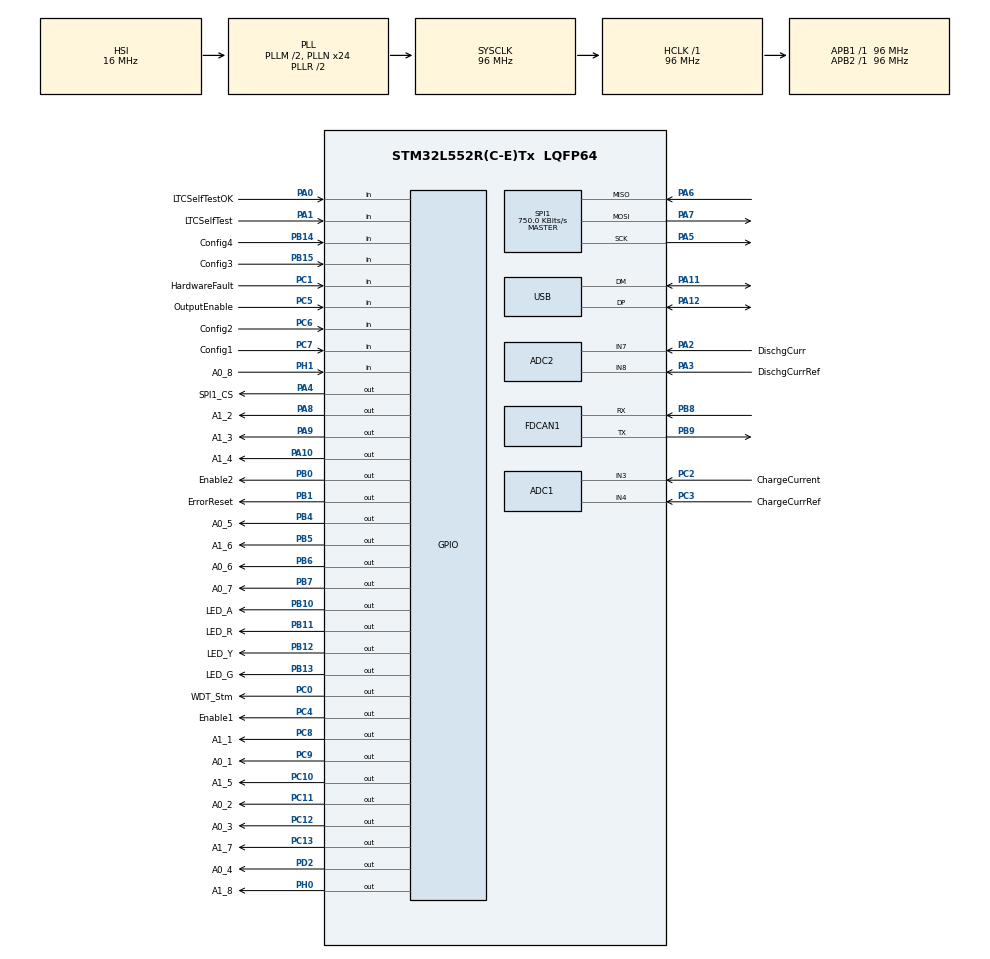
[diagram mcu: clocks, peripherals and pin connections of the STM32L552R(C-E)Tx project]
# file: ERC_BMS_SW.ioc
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ADC1.Channel-8\#ChannelRegularConversion=ADC_CHANNEL_3
ADC1.DMAAccessModeView=ENABLE
ADC1.DMAContinuousRequests=ENABLE
ADC1.ExternalTrigConv=ADC_EXTERNALTRIG_T4_TRGO
ADC1.Mode=ADC_DUALMODE_REGSIMULT
ADC1.NbrOfConversionFlag=1
ADC1.OffsetNumber-8\#ChannelRegularConversion=ADC_OFFSET_NONE
ADC1.Rank-8\#ChannelRegularConversion=1
ADC1.SamplingTime-8\#ChannelRegularConversion=ADC_SAMPLETIME_2CYCLES_5
ADC1.SingleDiff-8\#ChannelRegularConversion=ADC_DIFFERENTIAL_ENDED
ADC1.master=1
ADC2.Channel-0\#ChannelRegularConversion=ADC_CHANNEL_7
ADC2.DMAAccessModeView=ENABLE
ADC2.DMAContinuousRequests=ENABLE
ADC2.Mode=ADC_DUALMODE_REGSIMULT
ADC2.NbrOfConversionFlag=1
ADC2.OffsetNumber-0\#ChannelRegularConversion=ADC_OFFSET_NONE
ADC2.Rank-0\#ChannelRegularConversion=1
ADC2.SamplingTime-0\#ChannelRegularConversion=ADC_SAMPLETIME_2CYCLES_5
ADC2.SingleDiff-0\#ChannelRegularConversion=ADC_DIFFERENTIAL_ENDED
Dma.ADC1.0.Channel_PRIV_NPRIV=DMA_CHANNEL_NPRIV_DISABLE
Dma.ADC1.0.Direction=DMA_PERIPH_TO_MEMORY
Dma.ADC1.0.EventEnable=DISABLE
Dma.ADC1.0.Instance=DMA1_Channel2
Dma.ADC1.0.MemDataAlignment=DMA_MDATAALIGN_HALFWORD
Dma.ADC1.0.MemInc=DMA_MINC_ENABLE
Dma.ADC1.0.Mode=DMA_CIRCULAR
Dma.ADC1.0.PeriphDataAlignment=DMA_PDATAALIGN_HALFWORD
Dma.ADC1.0.PeriphInc=DMA_PINC_DISABLE
Dma.ADC1.0.Polarity=HAL_DMAMUX_REQ_GEN_RISING
Dma.ADC1.0.Priority=DMA_PRIORITY_HIGH
Dma.ADC1.0.RequestNumber=1
Dma.ADC1.0.SignalID=NONE
Dma.ADC1.0.SyncEnable=DISABLE
Dma.ADC1.0.SyncPolarity=HAL_DMAMUX_SYNC_NO_EVENT
Dma.ADC1.0.SyncRequestNumber=1
Dma.ADC1.0.SyncSignalID=NONE
Dma.ADC2.1.Channel_PRIV_NPRIV=DMA_CHANNEL_NPRIV_DISABLE
Dma.ADC2.1.Direction=DMA_PERIPH_TO_MEMORY
Dma.ADC2.1.EventEnable=DISABLE
Dma.ADC2.1.Instance=DMA1_Channel1
Dma.ADC2.1.MemDataAlignment=DMA_MDATAALIGN_HALFWORD
Dma.ADC2.1.MemInc=DMA_MINC_ENABLE
Dma.ADC2.1.Mode=DMA_CIRCULAR
Dma.ADC2.1.PeriphDataAlignment=DMA_PDATAALIGN_HALFWORD
Dma.ADC2.1.PeriphInc=DMA_PINC_DISABLE
Dma.ADC2.1.Polarity=HAL_DMAMUX_REQ_GEN_RISING
Dma.ADC2.1.Priority=DMA_PRIORITY_HIGH
Dma.ADC2.1.RequestNumber=1
Dma.ADC2.1.SignalID=NONE
Dma.ADC2.1.SyncEnable=DISABLE
Dma.ADC2.1.SyncPolarity=HAL_DMAMUX_SYNC_NO_EVENT
Dma.ADC2.1.SyncRequestNumber=1
Dma.ADC2.1.SyncSignalID=NONE
Dma.Request0=ADC1
Dma.Request1=ADC2
FDCAN1.CalculateBaudRateNominal=1000000
FDCAN1.CalculateTimeBitNominal=1000
FDCAN1.CalculateTimeQuantumNominal=333.3333333333333
Mcu.Family=STM32L5
Mcu.Name=STM32L552R(C-E)Tx
Mcu.Package=LQFP64
NVIC.DMA1_Channel1_IRQn=true\:0\:0\:false\:false\:true\:false\:true\:true
NVIC.DMA1_Channel2_IRQn=true\:0\:0\:false\:false\:true\:false\:true\:true
NVIC.PriorityGroup=NVIC_PRIORITYGROUP_3
NVIC.TIM1_UP_IRQn=true\:0\:0\:false\:false\:true\:true\:true\:true
NVIC.TIM2_IRQn=true\:0\:0\:false\:false\:true\:true\:true\:true
NVIC.TIM3_IRQn=true\:0\:0\:false\:false\:true\:true\:true\:true
NVIC.TIM4_IRQn=true\:0\:0\:false\:false\:true\:true\:true\:true
NVIC.TIM5_IRQn=true\:0\:0\:false\:false\:true\:true\:true\:true
NVIC.TIM6_IRQn=true\:7\:0\:false\:false\:true\:false\:true\:true
NVIC.TIM7_IRQn=true\:0\:0\:false\:false\:true\:true\:true\:true
NVIC.TimeBase=TIM6_IRQn
NVIC.TimeBaseIP=TIM6
NVIC.USB_FS_IRQn=true\:0\:0\:false\:false\:true\:false\:true\:true
PA0.GPIO_Label=LTCSelfTestOK
PA0.Signal=GPIO_Input
PA1.GPIO_Label=LTCSelfTest
PA1.Signal=GPIO_Input
PA10.GPIO_Label=A1_4
PA10.Signal=GPIO_Output
PA11.Mode=Device
PA11.Signal=USB_DM
PA12.Mode=Device
PA12.Signal=USB_DP
PA13\ (JTMS/SWDIO).Mode=JTAG_4_pins
PA13\ (JTMS/SWDIO).Signal=DEBUG_JTMS-SWDIO
PA14\ (JTCK/SWCLK).Mode=JTAG_4_pins
PA14\ (JTCK/SWCLK).Signal=DEBUG_JTCK-SWCLK
PA15\ (JTDI).Mode=JTAG_4_pins
PA15\ (JTDI).Signal=DEBUG_JTDI
PA2.GPIO_Label=DischgCurr
PA2.Signal=ADCx_IN7
PA3.GPIO_Label=DischgCurrRef
PA3.Signal=ADCx_IN8
PA4.GPIO_Label=SPI1_CS
PA4.Signal=GPIO_Output
PA5.Mode=Full_Duplex_Master
PA5.Signal=SPI1_SCK
PA6.Mode=Full_Duplex_Master
PA6.Signal=SPI1_MISO
PA7.Mode=Full_Duplex_Master
PA7.Signal=SPI1_MOSI
PA8.GPIO_Label=A1_2
PA8.Signal=GPIO_Output
PA9.GPIO_Label=A1_3
PA9.Signal=GPIO_Output
PB0.GPIO_Label=Enable2
PB0.Signal=GPIO_Output
PB1.GPIO_Label=ErrorReset
PB1.Signal=GPIO_Output
PB10.GPIO_Label=LED_A
PB10.Signal=GPIO_Output
PB11.GPIO_Label=LED_R
PB11.Signal=GPIO_Output
PB12.GPIO_Label=LED_Y
PB12.Signal=GPIO_Output
PB13.GPIO_Label=LED_G
PB13.Signal=GPIO_Output
PB14.GPIO_Label=Config4
PB14.GPIO_PuPd=GPIO_PULLUP
PB14.Signal=GPIO_Input
PB15.GPIO_Label=Config3
PB15.GPIO_PuPd=GPIO_PULLUP
PB15.Signal=GPIO_Input
PB3\ (JTDO/TRACESWO).Mode=JTAG_4_pins
PB3\ (JTDO/TRACESWO).Signal=DEBUG_JTDO-SWO
PB4\ (NJTRST).GPIO_Label=A0_5
PB4\ (NJTRST).Signal=GPIO_Output
PB5.GPIO_Label=A1_6
PB5.Signal=GPIO_Output
PB6.GPIO_Label=A0_6
PB6.Signal=GPIO_Output
PB7.GPIO_FM7=__NULL
PB7.GPIO_Label=A0_7
PB7.GPIO_Speed=GPIO_SPEED_FREQ_LOW
PB7.Signal=GPIO_Output
PB8.Mode=FDCAN_Activate
PB8.Signal=FDCAN1_RX
PB9.Mode=FDCAN_Activate
PB9.Signal=FDCAN1_TX
PC0.GPIO_Label=WDT_Stm
PC0.Signal=GPIO_Output
PC1.GPIO_Label=HardwareFault
PC1.Signal=GPIO_Input
PC10.GPIO_Label=A1_5
PC10.Signal=GPIO_Output
PC11.GPIO_Label=A0_2
PC11.Signal=GPIO_Output
PC12.GPIO_Label=A0_3
PC12.Signal=GPIO_Output
PC13.GPIO_Label=A1_7
PC13.Signal=GPIO_Output
PC14-OSC32_IN\ (PC14).Mode=LSE-External-Oscillator
PC14-OSC32_IN\ (PC14).Signal=RCC_OSC32_IN
PC15-OSC32_OUT\ (PC15).Mode=LSE-External-Oscillator
PC15-OSC32_OUT\ (PC15).Signal=RCC_OSC32_OUT
PC2.GPIO_Label=ChargeCurrent
PC2.Signal=ADCx_IN3
PC3.GPIO_Label=ChargeCurrRef
PC3.Signal=ADCx_IN4
PC4.GPIO_Label=Enable1
PC4.Signal=GPIO_Output
PC5.GPIO_Label=OutputEnable
PC5.Signal=GPIO_Input
PC6.GPIO_Label=Config2
PC6.GPIO_PuPd=GPIO_PULLUP
PC6.Signal=GPIO_Input
PC7.GPIO_Label=Config1
PC7.GPIO_PuPd=GPIO_PULLUP
PC7.Signal=GPIO_Input
PC8.GPIO_Label=A1_1
PC8.Signal=GPIO_Output
PC9.GPIO_Label=A0_1
PC9.Signal=GPIO_Output
PD2.GPIO_Label=A0_4
PD2.Signal=GPIO_Output
PH0-OSC_IN\ (PH0).GPIO_Label=A1_8
PH0-OSC_IN\ (PH0).Signal=GPIO_Output
PH1-OSC_OUT\ (PH1).GPIO_Label=A0_8
PH1-OSC_OUT\ (PH1).Signal=GPIO_Input
ProjectManager.HeapSize=0x200
ProjectManager.StackSize=0x400
ProjectManager.TargetToolchain=STM32CubeIDE
RCC.ADCFreq_Value=48000000
RCC.AHBFreq_Value=96000000
RCC.APB1Freq_Value=96000000
RCC.APB1TimFreq_Value=96000000
RCC.APB2Freq_Value=96000000
RCC.APB2TimFreq_Value=96000000
RCC.CortexFreq_Value=96000000
RCC.HCLKFreq_Value=96000000
RCC.HSE_VALUE=16000000
RCC.HSI48_VALUE=48000000
RCC.HSI_VALUE=16000000
RCC.LSE_Timout=20000
RCC.MSIClockRange=RCC_MSIRANGE_7
RCC.MSI_VALUE=8000000
RCC.PLLM=2
RCC.PLLN=24
RCC.PLLQ=RCC_PLLQ_DIV4
RCC.PLLSAI1N=12
RCC.PLLSourceVirtual=RCC_PLLSOURCE_HSI
RCC.SYSCLKFreq_VALUE=96000000
RCC.SYSCLKSource=RCC_SYSCLKSOURCE_PLLCLK
RCC.USBFreq_Value=48000000
RCC.VCOOutputFreq_Value=192000000
SH.ADCx_IN3.0=ADC1_IN3,IN3-Differential
SH.ADCx_IN4.0=ADC1_IN4,IN3-Differential
SH.ADCx_IN7.0=ADC2_IN7,IN7-Differential
SH.ADCx_IN8.0=ADC2_IN8,IN7-Differential
SPI1.BaudRatePrescaler=SPI_BAUDRATEPRESCALER_128
SPI1.CLKPhase=SPI_PHASE_2EDGE
SPI1.CLKPolarity=SPI_POLARITY_HIGH
SPI1.CRCCalculation=SPI_CRCCALCULATION_DISABLE
SPI1.CalculateBaudRate=750.0 KBits/s
SPI1.DataSize=SPI_DATASIZE_8BIT
SPI1.Direction=SPI_DIRECTION_2LINES
SPI1.Mode=SPI_MODE_MASTER
SPI1.VirtualType=VM_MASTER
TIM1.Period=19999
TIM1.Prescaler=2399
TIM2.Channel-Output\ Compare1\ No\ Output=TIM_CHANNEL_1
TIM2.OCMode_1=TIM_OCMODE_ACTIVE
TIM2.Period=399
TIM2.Prescaler=47999
TIM2.Pulse-Output\ Compare1\ No\ Output=99
TIM2.TIM_MasterOutputTrigger=TIM_TRGO_OC1REF
TIM3.Channel-Output\ Compare1\ No\ Output=TIM_CHANNEL_1
TIM3.OCMode_1=TIM_OCMODE_ACTIVE
TIM3.Period=399
TIM3.Prescaler=47999
TIM3.Pulse-Output\ Compare1\ No\ Output=99
TIM3.TIM_MasterOutputTrigger=TIM_TRGO_OC1REF
TIM4.Channel-Output\ Compare1\ No\ Output=TIM_CHANNEL_1
TIM4.OCMode_1=TIM_OCMODE_ACTIVE
TIM4.Period=399
TIM4.Prescaler=47999
TIM4.Pulse-Output\ Compare1\ No\ Output=99
TIM4.TIM_MasterOutputTrigger=TIM_TRGO_OC1REF
TIM5.Period=399
TIM5.Prescaler=47999
TIM5.TIM_MasterOutputTrigger=TIM_TRGO_RESET
TIM7.Period=7999
TIM7.Prescaler=0
USB_DEVICE.CLASS_NAME_FS=CDC
USB_DEVICE.VirtualMode=Cdc
USB_DEVICE.VirtualModeFS=Cdc_FS
VP_ICACHE_VS_ICACHE.Mode=DirectMappedCache
VP_PWR_VS_DBSignals.Mode=DisableDeadBatterySignals
VP_PWR_VS_SECSignals.Mode=Security/Privilege
VP_RTC_VS_RTC_Activate.Mode=RTC_Enabled
VP_RTC_VS_RTC_Calendar.Mode=RTC_Calendar
VP_SYS_VS_tim6.Mode=TIM6
VP_TIM1_VS_ClockSourceINT.Mode=Internal
VP_TIM2_VS_ClockSourceINT.Mode=Internal
VP_TIM2_VS_no_output1.Mode=Output Compare1 No Output
VP_TIM3_VS_ClockSourceITR.Mode=TriggerSource_ITR1
VP_TIM3_VS_ControllerModeTrigger.Mode=Trigger Mode
VP_TIM3_VS_no_output1.Mode=Output Compare1 No Output
VP_TIM4_VS_ClockSourceITR.Mode=TriggerSource_ITR2
VP_TIM4_VS_ControllerModeTrigger.Mode=Trigger Mode
VP_TIM4_VS_no_output1.Mode=Output Compare1 No Output
VP_TIM5_VS_ClockSourceITR.Mode=TriggerSource_ITR2
VP_TIM5_VS_ControllerModeTrigger.Mode=Trigger Mode
VP_TIM7_VS_ClockSourceINT.Mode=Enable_Timer
VP_USB_DEVICE_VS_USB_DEVICE_CDC_FS.Mode=CDC_FS
board=custom

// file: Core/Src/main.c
/* USER CODE BEGIN Header */
/**
  ******************************************************************************
  * @file           : main.c
  * @brief          : Main program body
  ******************************************************************************
  * @attention
  *
  * Copyright (c) 2025 STMicroelectronics.
  * All rights reserved.
  *
  * This software is licensed under terms that can be found in the LICENSE file
  * in the root directory of this software component.
  * If no LICENSE file comes with this software, it is provided AS-IS.
  *
  ******************************************************************************
  */
/* USER CODE END Header */
#include "main.h"
#include "adc.h"
#include "dma.h"
#include "fdcan.h"
#include "icache.h"
#include "rtc.h"
#include "spi.h"
#include "tim.h"
#include "usb_device.h"
#include "gpio.h"

/* USER CODE BEGIN Includes */
#include "BMS.h"
#include "LTC6811.h"
#include "stm32l5xx_hal.h"

//#include "usbd_cdc_if.h"

/* USER CODE END Includes */

/* USER CODE BEGIN PD */
#define ADC_CNT_MAX 10 //maximum number of ADC values to read before averaging
/* USER CODE END PD */

/* USER CODE BEGIN PV */
bool FLAG_TIM2 = false;	//flag for TIM2
bool FLAG_TIM3 = false;	//flag for TIM3
bool FLAG_TIM4 = false;	//flag for TIM4
bool FLAG_TIM5 = false;	//flag for TIM5
bool FLAG_MainTask1=false, FLAG_MainTask2=false, FLAG_MainTask3=false;	//flags for main task
bool FLAG_WDT = true;	//flag for WDT

//uint32_t adc1CNT = 0, adc2CNT = 0;
//uint32_t adcVal[2][ADC_CNT_MAX];	//ADC values for current sensors
float alpha = 0.01f;	//alpha value for exponential moving average filter
uint32_t adcVal;	//ADC values for current sensors
/* USER CODE END PV */

void SystemClock_Config(void);
void PeriphCommonClock_Config(void);

int main(void)
{

  /* MCU Configuration--------------------------------------------------------*/

  /* Reset of all peripherals, Initializes the Flash interface and the Systick. */
  HAL_Init();

  /* Configure the system clock */
  SystemClock_Config();

  /* Configure the peripherals common clocks */
  PeriphCommonClock_Config();

  /* Initialize all configured peripherals */
  MX_GPIO_Init();
  MX_DMA_Init();
  MX_FDCAN1_Init();
  MX_RTC_Init();
  MX_USB_Device_Init();
  MX_ADC1_Init();
  MX_SPI1_Init();
  MX_ICACHE_Init();
  MX_ADC2_Init();
  MX_TIM2_Init();
  MX_TIM3_Init();
  MX_TIM4_Init();
  MX_TIM5_Init();
  MX_TIM1_Init();
  MX_TIM7_Init();
  /* USER CODE BEGIN 2 */
  LTC6811_init();	//initializes the LTC (and SPI communication)

  SetHardwareProtection();	//sets the hardware protection configuration pins to the correct values
  HAL_Delay(100);	//wait for 100ms to ensure the hardware protection is set

  HAL_GPIO_WritePin(LED_R_GPIO_Port, LED_R_Pin, GPIO_PIN_RESET);	//turn off red LED
  HAL_GPIO_WritePin(LED_A_GPIO_Port, LED_A_Pin, GPIO_PIN_RESET);	//turn off amber LED
  HAL_GPIO_WritePin(LED_Y_GPIO_Port, LED_Y_Pin, GPIO_PIN_RESET);	//turn off yellow LED
  HAL_GPIO_WritePin(LED_G_GPIO_Port, LED_G_Pin, GPIO_PIN_RESET);	//turn off green LED

  //START ADCs

  HAL_ADC_Start_IT(&hadc2);
  HAL_ADC_Start_IT(&hadc1);
  HAL_ADCEx_Calibration_Start(&hadc1, ADC_DIFFERENTIAL_ENDED) ;
  HAL_ADCEx_Calibration_Start(&hadc2, ADC_DIFFERENTIAL_ENDED);

//  HAL_ADCEx_MultiModeStart_DMA(&hadc1, (uint32_t*)adcVal, 1);	//start ADC conversion for current sensors, 2 channels in multi mode

  //START TIMERS
  HAL_TIM_Base_Start_IT(&htim5); // Triggers Reading of aux conversion
  HAL_TIM_Base_Start_IT(&htim4); // Triggers aux conversion
  HAL_TIM_Base_Start_IT(&htim3); // Triggers Reading of voltage conversion
  HAL_TIM_Base_Start_IT(&htim2); // Triggers voltage conversion
  HAL_TIM_Base_Start_IT(&htim7); // 3khz clock for LTC6801
//  HAL_TIM_Base_Start_IT(&htim8); // Triggers ADC

  HAL_Delay(100);	//wait for 100ms to ensure the system is stable
  resetOutputLatch();	//reset the output latch
  HAL_TIM_Base_Start_IT(&htim1); // pseudo watchdog timer, needs to be reset every 0.5s
  adcOffsetZero();	//zero the ADC offset, this is done once at the beginning of the program

  /* USER CODE END 2 */

  /* Infinite loop */
  /* USER CODE BEGIN WHILE */
  while (1)
  {
	  if(FLAG_TIM2){
		  wakeup_idle(TOTAL_IC);	//wake up daisy-chain from sleep mode
		  LTC6811_adcv(MD_422HZ_1KHZ, DCP_DISABLED, CELL_CH_ALL); //should take 1.1 ms for 27KHz mode and 1.3 ms for 14KHz mode
		  FLAG_TIM2 = false;	//sets the flag to false
//		  HAL_GPIO_TogglePin(LED_R_GPIO_Port, LED_R_Pin);
	  }
	  if(FLAG_TIM3){
		  wakeup_idle(TOTAL_IC);	//wake up daisy-chain from sleep mode
		  readVoltages();	//reads the cell voltages
		  FLAG_TIM3 = false;	//sets the flag to false
//		  HAL_GPIO_TogglePin(LED_A_GPIO_Port, LED_A_Pin);
	  }
	  if(FLAG_TIM4){
		  wakeup_idle(TOTAL_IC);	//wake up daisy-chain from sleep mode
		  LTC6811_adax(MD_422HZ_1KHZ, AUX_CH_ALL); //should take 1.1 ms for 27KHz mode and 1.3 ms for 14KHz mode
		  FLAG_TIM4 = false;	//sets the flag to false
//		  HAL_ADC_Start(&hadc1);	//start ADC conversion for current sensor
//		  HAL_ADC_Start(&hadc2);	//start ADC conversion for current sensor
//		  HAL_GPIO_TogglePin(LED_G_GPIO_Port, LED_Y_Pin);
	  }
	  if(FLAG_TIM5){
		  wakeup_idle(TOTAL_IC);	//wake up daisy-chain from sleep mode
		  readTemperatures();	//reads the cell voltages
		  tempConvert();	//converts the ADC values into temperature
		  currentConvert();
//		  HAL_GPIO_TogglePin(LED_G_GPIO_Port, LED_G_Pin);

		  FLAG_TIM5 = false;
		  FLAG_MainTask1 = true;
		  FLAG_MainTask2 = true;
		  FLAG_MainTask3 = true;
	  }
	  //reset the timer 1 counter (watchdog)
	  __HAL_TIM_SET_COUNTER(&htim1, 0);
//	  if(HAL_GPIO_ReadPin(OutputEnable_GPIO_Port, OutputEnable_Pin) == GPIO_PIN_RESET){
//		  HAL_GPIO_WritePin(LED_R_GPIO_Port, LED_R_Pin, GPIO_PIN_SET);	//turn on red LED
//	  }
	  /*//debug manual output reset
	  if(HAL_GPIO_ReadPin(Config1_GPIO_Port, Config1_Pin) == GPIO_PIN_RESET){
		  HAL_GPIO_WritePin(Enable1_GPIO_Port, Enable1_Pin, GPIO_PIN_SET);
	  }else{
		  HAL_GPIO_WritePin(Enable1_GPIO_Port, Enable1_Pin, GPIO_PIN_RESET);
	  }
	  if(HAL_GPIO_ReadPin(Config2_GPIO_Port, Config2_Pin) == GPIO_PIN_RESET){
		  HAL_GPIO_WritePin(Enable2_GPIO_Port, Enable2_Pin, GPIO_PIN_SET);
	  }else{
		  HAL_GPIO_WritePin(Enable2_GPIO_Port, Enable2_Pin, GPIO_PIN_RESET);
	  }
	  */
	  if(HAL_GPIO_ReadPin(Config1_GPIO_Port, Config1_Pin) == GPIO_PIN_RESET){
		  resetOutputLatch();	//reset the output latch if Config1 is pressed
	  }
	  if(FLAG_MainTask1){
		  errorCheck();
		  FLAG_MainTask1 = false;
	  }else if(FLAG_MainTask2){
//		  balancingControl();
		  FLAG_MainTask2 = false;
	  }else if(FLAG_MainTask3){
		  outputControl();
		  LEDControl();
		  FLAG_MainTask3 = false;
	  }

    /* USER CODE END WHILE */

  }
}

void SystemClock_Config(void)
{
  RCC_OscInitTypeDef RCC_OscInitStruct = {0};
  RCC_ClkInitTypeDef RCC_ClkInitStruct = {0};

  /** Configure the main internal regulator output voltage
  */
  if (HAL_PWREx_ControlVoltageScaling(PWR_REGULATOR_VOLTAGE_SCALE0) != HAL_OK)
  {
    Error_Handler();
  }

  /** Configure LSE Drive Capability
  */
  HAL_PWR_EnableBkUpAccess();
  __HAL_RCC_LSEDRIVE_CONFIG(RCC_LSEDRIVE_LOW);

  /** Initializes the RCC Oscillators according to the specified parameters
  * in the RCC_OscInitTypeDef structure.
  */
  RCC_OscInitStruct.OscillatorType = RCC_OSCILLATORTYPE_HSI|RCC_OSCILLATORTYPE_LSI
                              |RCC_OSCILLATORTYPE_LSE|RCC_OSCILLATORTYPE_MSI;
  RCC_OscInitStruct.LSEState = RCC_LSE_ON;
  RCC_OscInitStruct.HSIState = RCC_HSI_ON;
  RCC_OscInitStruct.LSIDiv = RCC_LSI_DIV1;
  RCC_OscInitStruct.HSICalibrationValue = RCC_HSICALIBRATION_DEFAULT;
  RCC_OscInitStruct.LSIState = RCC_LSI_ON;
  RCC_OscInitStruct.MSIState = RCC_MSI_ON;
  RCC_OscInitStruct.MSICalibrationValue = RCC_MSICALIBRATION_DEFAULT;
  RCC_OscInitStruct.MSIClockRange = RCC_MSIRANGE_7;
  RCC_OscInitStruct.PLL.PLLState = RCC_PLL_ON;
  RCC_OscInitStruct.PLL.PLLSource = RCC_PLLSOURCE_HSI;
  RCC_OscInitStruct.PLL.PLLM = 2;
  RCC_OscInitStruct.PLL.PLLN = 24;
  RCC_OscInitStruct.PLL.PLLP = RCC_PLLP_DIV7;
  RCC_OscInitStruct.PLL.PLLQ = RCC_PLLQ_DIV4;
  RCC_OscInitStruct.PLL.PLLR = RCC_PLLR_DIV2;
  if (HAL_RCC_OscConfig(&RCC_OscInitStruct) != HAL_OK)
  {
    Error_Handler();
  }

  /** Initializes the CPU, AHB and APB buses clocks
  */
  RCC_ClkInitStruct.ClockType = RCC_CLOCKTYPE_HCLK|RCC_CLOCKTYPE_SYSCLK
                              |RCC_CLOCKTYPE_PCLK1|RCC_CLOCKTYPE_PCLK2;
  RCC_ClkInitStruct.SYSCLKSource = RCC_SYSCLKSOURCE_PLLCLK;
  RCC_ClkInitStruct.AHBCLKDivider = RCC_SYSCLK_DIV1;
  RCC_ClkInitStruct.APB1CLKDivider = RCC_HCLK_DIV1;
  RCC_ClkInitStruct.APB2CLKDivider = RCC_HCLK_DIV1;

  if (HAL_RCC_ClockConfig(&RCC_ClkInitStruct, FLASH_LATENCY_4) != HAL_OK)
  {
    Error_Handler();
  }

  /** Enable MSI Auto calibration
  */
  HAL_RCCEx_EnableMSIPLLMode();
}

void PeriphCommonClock_Config(void)
{
  RCC_PeriphCLKInitTypeDef PeriphClkInit = {0};

  /** Initializes the common periph clock
  */
  PeriphClkInit.PeriphClockSelection = RCC_PERIPHCLK_USB|RCC_PERIPHCLK_ADC;
  PeriphClkInit.AdcClockSelection = RCC_ADCCLKSOURCE_PLLSAI1;
  PeriphClkInit.UsbClockSelection = RCC_USBCLKSOURCE_PLLSAI1;
  PeriphClkInit.PLLSAI1.PLLSAI1Source = RCC_PLLSAI1SOURCE_MSI;
  PeriphClkInit.PLLSAI1.PLLSAI1M = 1;
  PeriphClkInit.PLLSAI1.PLLSAI1N = 12;
  PeriphClkInit.PLLSAI1.PLLSAI1P = RCC_PLLP_DIV7;
  PeriphClkInit.PLLSAI1.PLLSAI1Q = RCC_PLLQ_DIV2;
  PeriphClkInit.PLLSAI1.PLLSAI1R = RCC_PLLR_DIV2;
  PeriphClkInit.PLLSAI1.PLLSAI1ClockOut = RCC_PLLSAI1_48M2CLK|RCC_PLLSAI1_ADC1CLK;
  if (HAL_RCCEx_PeriphCLKConfig(&PeriphClkInit) != HAL_OK)
  {
    Error_Handler();
  }
}

/* USER CODE BEGIN 4 */
void HAL_ADC_ConvCpltCallback(ADC_HandleTypeDef* hadc)
{

	if(hadc->Instance == ADC1){
		//read the ADC value for current sensor

		adcVal = HAL_ADC_GetValue(&hadc1);
		adc1Val = (float)((float)adc1Val*(1-alpha) + (float)adcVal*alpha);	//apply a low-pass filter to the ADC value
//		adc1CNT++;	//increment the adc counter
//		if(adc1CNT >= ADC_CNT_MAX){	//if the adc counter reaches the maximum value
//			adc1CNT = 0;	//reset the adc counter
//			adc1Val = 0;	//reset the adc1Val to 0
//			for(int i = 0; i < ADC_CNT_MAX; i++){	//copy the adc values to the adc1Val array
//				adc1Val += adcVal[0][i];
//			}
//			adc1Val /= ADC_CNT_MAX;	//average the adc values
//		}
//		HAL_GPIO_TogglePin(Test_GPIO_Port, Test_Pin);	//toggle test pin for debugging
	}else if(hadc->Instance == ADC2){
		//read the ADC value for current sensor
		adcVal = HAL_ADC_GetValue(&hadc2);
		adc2Val = (float)((float)adc2Val*(1-alpha) + (float)adcVal*alpha);	//apply a low-pass filter to the ADC value
//		adcVal[1][adc2CNT] = HAL_ADC_GetValue(&hadc2);
//		adc2CNT++;	//increment the adc counter
//		if(adc2CNT >= ADC_CNT_MAX){	//if the adc counter reaches the maximum value
//			adc2CNT = 0;	//reset the adc counter
//			adc2Val = 0;	//reset the adc2Val to 0
//			for(int i = 0; i < ADC_CNT_MAX; i++){	//copy the adc values to the adc2Val array
//				adc2Val += adcVal[1][i];
//			}
//			adc2Val /= ADC_CNT_MAX;	//average the adc values
//		}
	}

}
/* USER CODE END 4 */

void HAL_TIM_PeriodElapsedCallback(TIM_HandleTypeDef *htim)
{
  /* USER CODE BEGIN Callback 0 */
	//timers to control the LTC6811 value reading
	//TIM2 starts first and then triggers TIM3, which triggers TIM4, which triggers TIM5.
	//These 4 timers run in a loop at 5Hz each, and 20Hz overall
	//TIM2 starts cell voltage conversion
	if(htim->Instance == TIM2){
		FLAG_TIM2 = true;	//sets the flag to true

	//TIM3 reads cell voltages
	}else if(htim->Instance == TIM3){
		FLAG_TIM3 = true;	//sets the flag to true

	//TIM4 starts aux voltage conversion
	}else if(htim->Instance == TIM4){
		FLAG_TIM4 = true;	//sets the flag to true

	//TIM5 reads aux voltage conversion
	}else if(htim->Instance == TIM5){
		FLAG_TIM5 = true;	//sets the flag to true
//		HAL_GPIO_TogglePin(LED_G_GPIO_Port, LED_G_Pin);	//toggles green LED
	}
	if(htim->Instance == TIM7){
		if(FLAG_WDT){
			HAL_GPIO_TogglePin(WDT_Stm_GPIO_Port, WDT_Stm_Pin);	//toggles external watchdog
		}
	}
	if(htim->Instance == TIM1){
//		FLAG_WDT = false;	//watchdog fired, stop output toggling
	}

  /* USER CODE END Callback 0 */
  if (htim->Instance == TIM6)
  {
    HAL_IncTick();
  }
}

void Error_Handler(void)
{
  __disable_irq();
  while (1)
  {
  }
}
